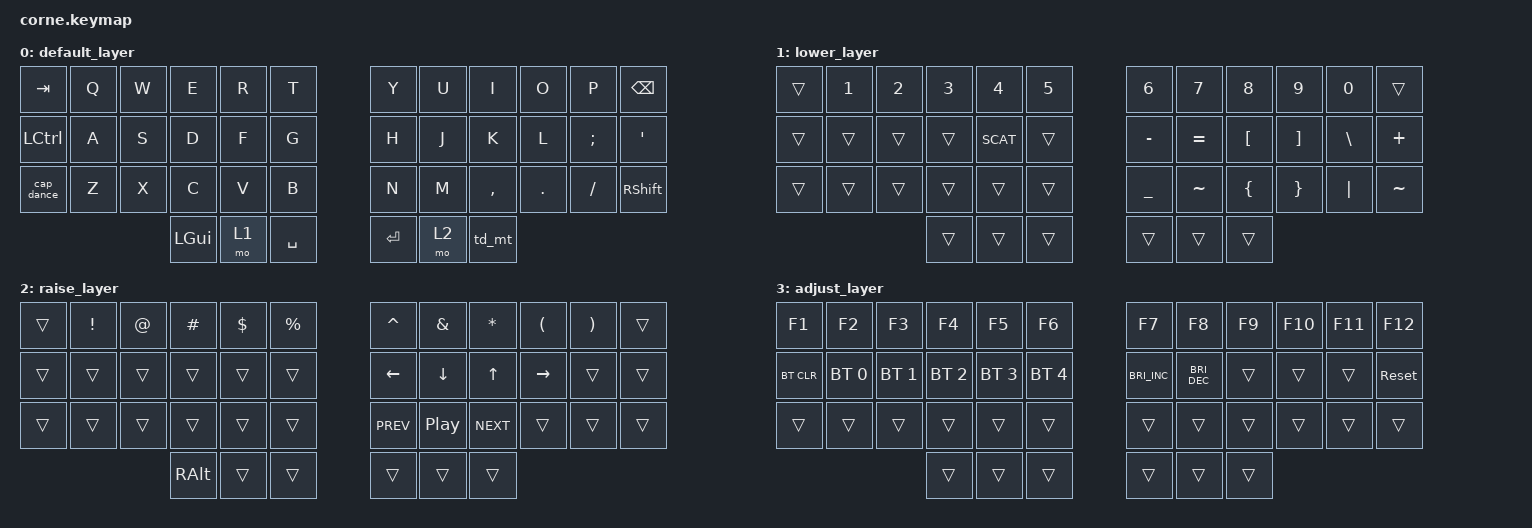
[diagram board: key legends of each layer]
/*
 * Copyright (c) 2020 The ZMK Contributors
 *
 * SPDX-License-Identifier: MIT
 */

#include <behaviors.dtsi>
#include <dt-bindings/zmk/keys.h>
#include <dt-bindings/zmk/bt.h>

// REFERENCE
// 37 50 64 78
// ------------------------------------------------------------   -------------------------------------------------------------------
// | 0 			 | 1  		| 2  			| 3  			| 4  			| 5  			|   | 6  		| 7   	| 8  		  | 9  			| 10  		|  11 		| 
//	 &kp TAB   	 &kp Q 		 &kp W 		 &kp E 		 &kp R 		 &kp T     &kp Y 		&kp U  &kp I      &kp O   	&kp P    	  &kp BSPC
// ------------------------------------------------------------   -------------------------------------------------------------------
// |  12 		 | 13  		| 14  		| 15  		| 16  		| 17  		|   | 18  	| 19   	| 20  	  | 21  		| 22  			|   23   	| 
// 	 &kp LCTRL 	 &kp A 		 &kp S 		 &kp D 		 &kp F 		 &kp G     &kp H 		&kp J  &kp K      &kp L   	&kp SEMI 	  &kp SQT
// ------------------------------------------------------------   -------------------------------------------------------------------
// |  24 		 | 25  		| 26  		| 27  		| 28  		| 29  		|   | 30  	| 31   	| 32     	| 33  		| 34  			|  35  		| 
// 	 &kp LSHFT 	 &kp Z 		 &kp X 		 &kp C 		 &kp V 		 &kp B     &kp N 		&kp M  &kp COMMA  &kp DOT 	&kp FSLH 	  &kp ESC
// ------------------------------------------------------------    ------------------------------------------------------------------
//                  			 |  36 			|  37 			|  38 			|   |  39 	| 40  	| 41 		| 
//               		        &kp LGUI    &mo 1 	   &kp SPACE       &kp RET  &mo 2   &td_mt
// ------------------------------------------------------------    ----------------------------

/ {
    chosen {
        zmk,backlight = <0>;
    };
        keymap {
                compatible = "zmk,keymap";

                default_layer {
                        bindings = <
 		&kp TAB   	 &kp Q  &kp W  &kp E  &kp R  &kp T     &kp Y  &kp U  &kp I     	&kp O   	&kp P    	 &kp BSPC
 		&kp LCTRL 	 &kp A  &kp S  &kp D  &kp F  &kp G     &kp H  &kp J  &kp K     	&kp L   	&kp SEMI 	 &kp SQT
 		&cap_dance   &kp Z  &kp X  &kp C  &kp V  &kp B     &kp N  &kp M  &kp COMMA 	&kp DOT 	&kp FSLH 	 &kp RSHIFT
                  		  &kp LGUI  &mo 1  &kp SPACE     &kp RET  &mo 2  &td_mt
                        >;
                };
                lower_layer {
                        bindings = <
   	&trans    &kp N1    &kp N2   &kp N3   &kp N4   &kp N5        &kp N6   	 &kp N7   	 &kp N8 		&kp N9    	&kp N0 		 &trans
    &trans    &trans    &trans   &trans   &SCAT   &trans        &kp MINUS 	 &kp EQUAL 	 &kp LBKT  	&kp RBKT 		&kp BSLH 	 &kp PLUS
   	&trans    &trans    &trans   &trans   &trans   &trans        &kp UNDER 	 &kp TILDE   &kp LBRC  	&kp RBRC 		&kp PIPE 	 &kp TILDE        
                                 &trans   &trans 	 &trans        &trans    &trans  &trans
                        >;
                };

                raise_layer {
                        bindings = <
   	&trans    &kp EXCL   &kp AT    &kp HASH   &kp DLLR   &kp PRCNT       &kp CARET   &kp AMPS  	 &kp ASTRK 	 &kp LPAR 		&kp RPAR 		&trans
   	&trans    &trans     &trans    &trans     &trans     &trans          &kp LEFT    &kp DOWN 	 &kp UP 		 &kp RIGHT    &trans      &trans
   	&trans    &trans     &trans    &trans     &trans     &trans          &kp C_PREV  &kp C_PP    &kp C_NEXT  &trans       &trans      &trans
                             	  &kp RALT      &trans   		 &trans          &trans  &trans   &trans
                        >;
                };

                adjust_layer {
                        bindings = <
   	&kp F1 			 &kp F2  		     &kp F3  		     &kp F4     	   &kp F5  	       &kp F6  	        &kp F7  		 &kp F8  		 &kp F9  		 &kp F10  	 &kp F11  	&kp F12  
    &bt BT_CLR   &bt BT_SEL 0    &bt BT_SEL 1    &bt BT_SEL 2    &bt BT_SEL 3    &bt BT_SEL 4     &kp C_BRIGHTNESS_INC 	   &kp C_BRIGHTNESS_DEC 	 &trans 		 &trans    &trans      &sys_reset
   	&trans       &trans          &trans          &trans          &trans          &trans           &trans     &trans      &trans      &trans       &trans      &trans
                                    		           &trans        &trans       	 &trans           &trans  &trans  &trans
                        >;
                };
        };

        macros {
            writequit: writequit {
                compatible = "zmk,behavior-macro";
                #binding-cells = <0>;
                bindings
                    = <&macro_tap &kp COLON &kp W &kp Q &kp RET>;
            };
            write: write {
                compatible = "zmk,behavior-macro";
                #binding-cells = <0>;
                bindings
                    = <&macro_tap &kp COLON &kp W &kp RET>;
            };
            quit: quit {
                compatible = "zmk,behavior-macro";
                #binding-cells = <0>;
                bindings
                    = <&macro_tap &kp COLON &kp Q &kp RET>;
            };
            SCAT: SCAT {
                compatible = "zmk,behavior-macro";
                #binding-cells = <0>;
                bindings = <&kp LG(LS(SPACE))>;
            };
        };

        conditional_layers {
               compatible = "zmk,conditional-layers";
               tri_layer {
                   if-layers = <1 2>;
                   then-layer = <3>;
               };
        };

        behaviors {
               weak: weak {
                     compatible = "zmk,behavior-hold-tap";
                     bindings = <&kp>, <&kp>;
 
                     #binding-cells = <2>;
                     tapping-term-ms = <230>;
                     flavor = "tap-preferred";
                     require-prior-idle-ms = <125>;
                     quick-tap-ms = <230>;
               };
               
               cap_dance: tap_dance_0 {
                 compatible = "zmk,behavior-tap-dance";
                 #binding-cells = <0>;
                 tapping-term-ms = <200>;
                 bindings = <&kp LSHFT>, <&kp CAPSLOCK>;
               };

               td_mt: tap_dance_mod_tap {
                 compatible = "zmk,behavior-tap-dance";
                 #binding-cells = <0>;
                 tapping-term-ms = <200>;
                 bindings = <&mt RSHIFT CAPSLOCK>, <&kp RCTRL>;
               };
        };
        
        combos {
            compatible = "zmk,combos";

            wrtie_quit {
                bindings = <&write>;
                key-positions = < 2 22>;
            };
            write {
                bindings = <&writequit>;
                key-positions = < 0 1 2>;
            };
            quit {
                bindings = <&quit>;
                key-positions = < 1 22>;
            };

            display_move {
                bindings = <&kp LG(LC(LA(LEFT)))>;
                key-positions = < 24 25 26 >;
            };
        
            cycle_app {
                bindings = <&mt LC(LALT) LG(GRAVE)>;
                key-positions = < 36 12>;
            };
        
            escape {
                bindings = <&gresc>;
                key-positions = <19 20>;
            };
        
            delete {
                bindings = <&kp DEL>;
                key-positions = <15 16>;
            };
        
            copy {
                bindings = <&kp LG(C)>;
                key-positions = <26 27>;
            };
        
            paste {
                bindings = <&kp LG(V)>;
                key-positions = <27 28>;
            };
        
            cut {
                bindings = <&kp LG(X)>;
                key-positions = <26 28>;
            };
        
            vol-up {
                bindings = <&kp C_VOL_UP>;
                key-positions = <10 11>;
            };
        
            vol-down {
                bindings = <&kp C_VOL_DN>;
                key-positions = <22 23>;
            };
        
            vol-mute {
                bindings = <&kp C_MUTE>;
                key-positions = <34 35>;
            };
        
            scroll-up {
                bindings = <&kp C_AC_SCROLL_UP>;
                key-positions = <7 10>;
            };
        
            scroll-down {
                bindings = <&kp C_AC_SCROLL_DOWN>;
                key-positions = <31 34>;
            };
        };

};
